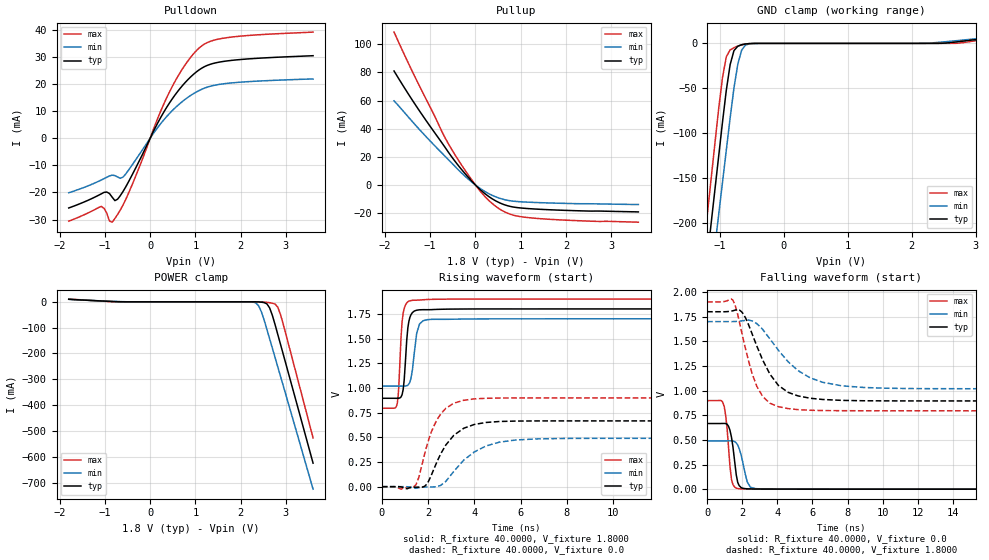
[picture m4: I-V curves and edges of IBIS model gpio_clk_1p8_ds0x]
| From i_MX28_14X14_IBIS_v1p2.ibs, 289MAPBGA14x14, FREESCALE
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|   Model gpio_clk_1p8_ds0x
| This model was characterised for following simulation conditions:
| Spice Models:
|  - Typ Condition
|   ..../backup/r63536/IBIS/GPIO_IBIS/io_dig_gpio_clk_bs_ir_1p8_8mA/typ.model
|  - Min Condition
|   ..../backup/r63536/IBIS/GPIO_IBIS/io_dig_gpio_clk_bs_ir_1p8_8mA/wcs.model
|  - Max Condition
|   ..../backup/r63536/IBIS/GPIO_IBIS/io_dig_gpio_clk_bs_ir_1p8_8mA/bcs.model
[Model]  gpio_clk_1p8_ds0x
Model_type I/O
Polarity   Non-Inverting
Enable   Active-Low
Vinl =   0.3600V
Vinh =   1.4400V
Vmeas =  0.9000V
Cref =   0.0F
Rref =   40.0000
Vref =   0.9000V
C_comp   1.9915pF   1.8302pF   2.1822pF
[Temperature Range]   25.0000   0.1050k   -40.0000
[Voltage Range]   1.8000V   1.7000V   1.9000V
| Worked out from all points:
|   slope of the pulldown table from 0 to 0.27 V, typ, clamps not added: 30.9 ohm
|   slope of the pullup table from 0 to 0.27 V, typ, clamps not added: 35.5 ohm
|   GND clamp passes 1 mA (typ) near -0.63 V on its own axis
|   POWER clamp passes 1 mA (typ) near -0.81 V on its own axis
|   rising waveform, R_fixture 40.0000, V_fixture 1.8000: 20-80 % time 167ps typ, 218ps min, 147ps max; typ from 0.895 V to 1.8 V
|   rising waveform, R_fixture 40.0000, V_fixture 0.0: 20-80 % time 1.02ns typ, 1.42ns min, 807ps max; typ from 0 V to 0.666 V
|   falling waveform, R_fixture 40.0000, V_fixture 0.0: 20-80 % time 293ps typ, 390ps min, 259ps max; typ from 0.666 V to 0 V
|   falling waveform, R_fixture 40.0000, V_fixture 1.8000: 20-80 % time 1.49ns typ, 2.22ns min, 1.06ns max; typ from 1.8 V to 0.895 V
[Pulldown]
|Voltage   I(typ)   I(min)   I(max)
-1.8V     -25.74mA   -20.13mA   -30.61mA
-1.08V    -20.53mA   -15.41mA   -25.17mA
-960mV    -19.86mA   -14.43mA   -27.62mA
-900mV    -20.43mA   -13.92mA   -30.58mA
-840mV    -21.77mA   -13.63mA   -30.99mA
-720mV    -22.5mA    -14.32mA   -28.1mA
-600mV    -19.65mA   -14.33mA   -24.65mA
480mV     14.34mA    10.04mA    18.82mA
840mV     21.72mA    15.16mA    28.67mA
1.14V     25.86mA    18.06mA    34.08mA
1.8V      28.72mA    20.4mA     37.32mA
3.6V      30.45mA    21.84mA    39.16mA
[Pullup]
|Voltage   I(typ)   I(min)   I(max)
-1.8V     80.97mA    59.74mA    108.6mA
-1.26V    53.71mA    40.2mA     71.74mA
-720mV    28.96mA    21.96mA    36.52mA
-600mV    23.36mA    18.06mA    29.35mA
-300mV    10.74mA    8.328mA    13.83mA
0V        412.4fA    3.201pA    565.7fA
180mV     -5.366mA   -4.032mA   -7.155mA
420mV     -10.76mA   -8.034mA   -14.46mA
720mV     -14.81mA   -10.93mA   -20.15mA
1.14V     -16.67mA   -12.14mA   -23.05mA
2.16V     -18.18mA   -13.19mA   -25.19mA
3.6V      -19.09mA   -13.87mA   -26.39mA
[GND_clamp]
|Voltage   I(typ)   I(min)   I(max)
-1.8V     -624.6mA   -664.4mA   -593.9mA
-1.26V    -279.2mA   -336.6mA   -232.8mA
-1.2V     -240.9mA   -300.2mA   -192.8mA
-1.14V    -202.6mA   -263.9mA   -152.8mA
-1.02V    -126.2mA   -191.4mA   -73.35mA
-960mV    -88.08mA   -155.2mA   -38.37mA
-900mV    -52.3mA    -119.1mA   -14.88mA
-780mV    -8.016mA   -49.56mA   -4.726mA
-660mV    -1.464mA   -7.462mA   -1.6mA
-540mV    -222.1uA   -464.6uA   -207.2uA
2.22V     3.773uA    177uA      3.508uA
3.6V      9.705mA    15.13mA    9.548mA
[POWER_clamp]
|Voltage   I(typ)   I(min)   I(max)
-1.8V     9.705mA    9.979mA    10.63mA
-780mV    753.4uA    1.57mA     75.84uA
2.16V     -4.982uA   -71.39uA   -3.24uA
2.34V     -222.1uA   -4.784mA   -14.67uA
2.4V      -643.4uA   -16.49mA   -74.35uA
2.46V     -1.464mA   -39.74mA   -323.9uA
2.58V     -8.016mA   -107mA     -1.997mA
2.64V     -23.66mA   -143.2mA   -3.464mA
2.76V     -88.08mA   -215.6mA   -8.711mA
2.82V     -126.2mA   -251.9mA   -20.79mA
2.94V     -202.6mA   -324.4mA   -86.23mA
3.6V      -624.6mA   -725.3mA   -527mA
[Ramp]
| variable   typ   min   max
dV/dt_r  0.3996/1.0161n   0.2937/1.3909n   0.5392/0.7959n
dV/dt_f  0.5430/1.4936n   0.4088/2.1542n   0.6630/1.0345n
R_load = 40.0000
[Rising Waveform]
R_fixture= 40.0000
V_fixture= 1.8000
V_fixture_min= 1.7000
V_fixture_max= 1.9000
|time   V(typ)   V(min)   V(max)
0s        895.1mV    1.019V     794.9mV
673.5ps   894.8mV    1.019V     850.8mV
732.8ps   895.8mV    1.019V     1.005V
878.1ps   932.6mV    1.018V     1.672V
968.1ps   1.081V     1.018V     1.804V
1.126ns   1.609V     1.027V     1.872V
1.259ns   1.74V      1.097V     1.885V
1.509ns   1.787V     1.555V     1.889V
1.97ns    1.792V     1.692V     1.896V
25ns      1.8V       1.7V       1.9V
[Rising Waveform]
R_fixture= 40.0000
V_fixture= 0.0
V_fixture_min= 0.0
V_fixture_max= 0.0
|time   V(typ)   V(min)   V(max)
0s        3.26nV     16.78nV    4.166nV
836.7ps   -2.961mV   60.06uV    -25.35mV
1.474ns   -5.296mV   -16.24mV   18.37mV
1.945ns   25.02mV    -3.515mV   411.8mV
2.387ns   252.9mV    -79.14uV   679mV
2.77ns    422.7mV    54.2mV     794.2mV
3.545ns   591.7mV    269.3mV    874.9mV
4.505ns   650.2mV    412.2mV    895mV
6.763ns   665.8mV    484.2mV    898.6mV
25ns      666.1mV    489.6mV    898.6mV
[Falling Waveform]
R_fixture= 40.0000
V_fixture= 0.0
V_fixture_min= 0.0
V_fixture_max= 0.0
|time   V(typ)   V(min)   V(max)
0s        666.1mV    489.6mV    898.6mV
797.5ps   666.1mV    489.6mV    898.5mV
969.7ps   667.1mV    489.6mV    841.4mV
1.146ns   657.9mV    489.7mV    600.8mV
1.299ns   599.6mV    490.1mV    237.8mV
1.389ns   527.4mV    490.4mV    100.1mV
1.747ns   67.65mV    447.1mV    6.253mV
2.286ns   3.728mV    73.21mV    1.801mV
2.741ns   1.709mV    5.474mV    1.149mV
25ns      4.364nV    25.42nV    4.385nV
[Falling Waveform]
R_fixture= 40.0000
V_fixture= 1.8000
V_fixture_min= 1.7000
V_fixture_max= 1.9000
|time   V(typ)   V(min)   V(max)
0s        1.8V       1.7V       1.9V
1.473ns   1.81V      1.7V       1.915V
1.657ns   1.82V      1.702V     1.831V
2.063ns   1.778V     1.71V      1.518V
2.832ns   1.452V     1.68V      1.043V
3.573ns   1.169V     1.526V     872.3mV
4.062ns   1.053V     1.409V     836.9mV
5.881ns   922.2mV    1.128V     800.5mV
7.656ns   900.8mV    1.049V     796.1mV
25ns      895.1mV    1.019V     794.9mV
